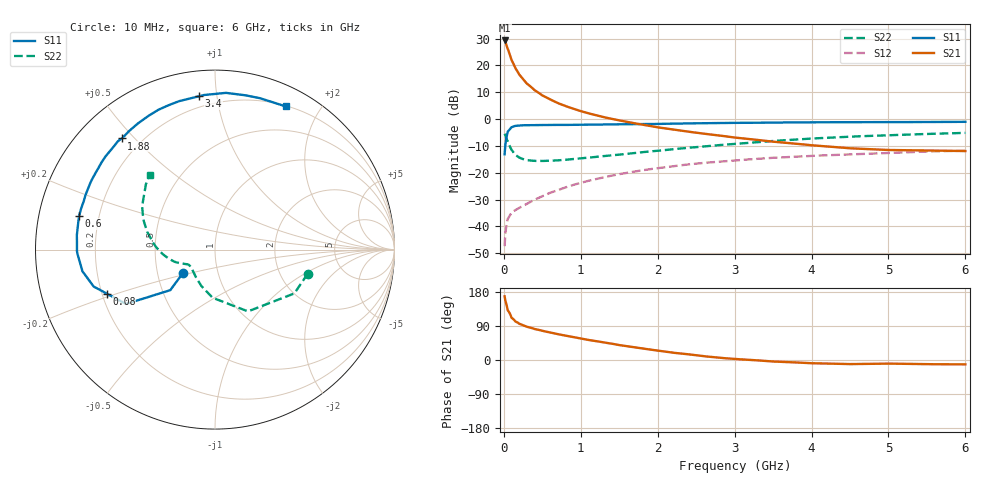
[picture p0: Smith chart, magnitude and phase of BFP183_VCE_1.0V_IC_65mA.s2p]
! Infineon Technologies  Discrete & RF Semiconductors
! BFP183
! VCE = 1.0 V,  IC =  65 mA
! Common Emitter S-Parameters:  Jan 2016
# GHz  S  MA  R  50
!  f  S11  S21  S12  S22
! GHz  MAG  ANG  MAG  ANG  MAG  ANG  MAG  ANG
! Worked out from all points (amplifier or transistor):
!   210 points, 10 MHz to 6 GHz, reference 50 ohm
!   highest |S21| = 29.3 dB at 10 MHz (marker M1)
!   |S21| within 3 dB of that: start of sweep to 49.23 MHz
!   unconditionally stable (mu >= 1): start of sweep to 47.22 MHz; 74.77 MHz to end of sweep
!   at 185 MHz: K = 1.33, MAG = 21.9 dB, |S12| = -33.3 dB
!   at 1.52 GHz: K = 2.04, MAG = 4.1 dB, |S12| = -20.4 dB
!   at 6 GHz: K = 1.59, MAG = -4.6 dB, |S12| = -11.7 dB
!   S11 on the Smith chart (normalised r, x): 10 MHz: 0.68, -0.18; 80 MHz: 0.22, -0.19; 600 MHz: 0.13, +0.12; 1.88 GHz: 0.13, +0.46; 3.4 GHz: 0.14, +0.89; 6 GHz: 0.21, +1.59
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0.01  0.2203 -143.9  29.16 168.0  0.0043 58.3  0.5339 -14.5
0.02  0.3363 -137.8  27.57 156.5  0.0076 60.2  0.5052 -28.9
0.05  0.5811 -148.6  20.52 131.3  0.0137 48.2  0.3902 -61.9
0.08  0.6514 -157.9  15.54 121.8  0.0162 42.6  0.3058 -77.6
0.1  0.7062 -163.0  12.62 111.5  0.018 39.8  0.2687 -92.8
0.15  0.7484 -170.7  8.875 101.8  0.0203 40.0  0.2166 -110.5
0.2  0.758 -175.4  6.778 95.8  0.0222 43.2  0.1924 -121.8
0.24  0.7668 -178.2  5.733 92.4  0.0237 44.9  0.182 -127.6
0.3  0.7691 178.4  4.58 87.7  0.0266 48.9  0.1719 -135.0
0.4  0.7739 174.0  3.456 81.8  0.0314 53.7  0.1666 -142.0
0.5  0.7758 170.2  2.767 77.0  0.0367 55.7  0.1661 -146.3
0.6  0.78 166.1  2.328 72.3  0.0423 57.5  0.1676 -148.9
0.8  0.7791 159.9  1.749 64.2  0.0533 59.7  0.1746 -152.1
1.02  0.7858 153.3  1.382 55.9  0.0661 59.9  0.1869 -154.9
1.3  0.792 145.6  1.085 46.1  0.0823 58.6  0.2047 -157.7
1.88  0.8086 130.0  0.755 28.2  0.1156 52.6  0.248 -166.2
2.02  0.8152 126.1  0.696 24.2  0.1232 51.0  0.2587 -168.1
3.1  0.8515 101.6  0.439 1.5  0.1744 37.0  0.354 172.0
3.4  0.8591 95.9  0.394 -2.5  0.1862 33.3  0.3815 166.8
4.1  0.8745 84.6  0.318 -8.9  0.2095 24.8  0.4415 155.3
5.1  0.8799 72.4  0.265 -9.8  0.2366 14.6  0.5056 141.0
6  0.8897 63.7  0.254 -11.5  0.2587 4.6  0.5536 131.2
